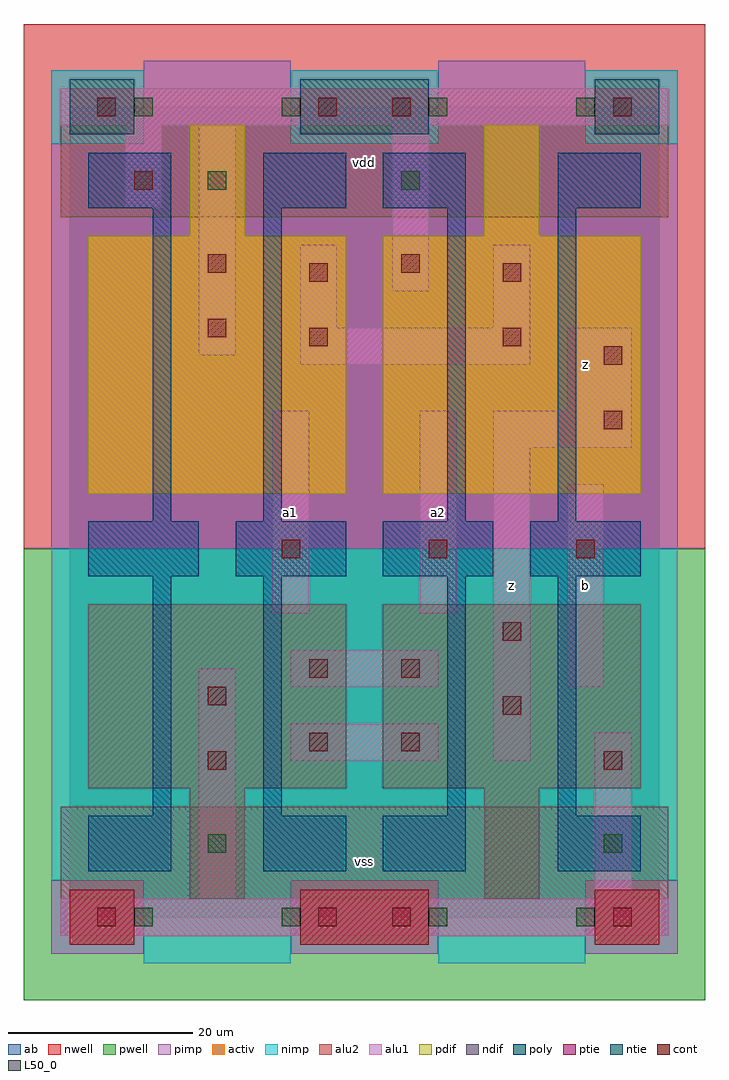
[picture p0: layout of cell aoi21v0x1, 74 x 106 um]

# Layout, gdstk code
import gdstk
lib = gdstk.Library(unit=1e-6, precision=1e-09)
def R(c, l, rs):  # rectangles x0, y0, x1, y1
    for r in rs: c.add(gdstk.rectangle(r[:2], r[2:], *l))
def A(c, l, x, y, w, h, nx, ny, dx, dy):  # array of equal rectangles
    R(c, l, [(x+i*dx, y+j*dy, x+i*dx+w, y+j*dy+h) for i in range(nx) for j in range(ny)])
ndif = (3, 0)
pdif = (4, 0)
ntie = (5, 0)
ptie = (6, 0)
cont = (25, 0)
pwell = (41, 0)
nwell = (42, 0)
activ = (43, 0)
pimp = (44, 0)
nimp = (45, 0)
poly = (46, 0)
alu1 = (49, 0)
L50_0 = (50, 0)
alu2 = (51, 0)
ab = (63, 0)

aoi21v0x1 = lib.new_cell('aoi21v0x1')
R(aoi21v0x1, ndif, [(13,2,19,14), (45,2,51,14), (2,14,30,34), (34,14,62,34)])
R(aoi21v0x1, pdif, [(2,46,30,74), (34,46,62,74), (13,74,19,86), (45,74,51,86)])
R(aoi21v0x1, ntie, [(0,85,7,91), (25,85,39,91), (57,85,64,91)])
R(aoi21v0x1, ptie, [(0,-3,7,3), (25,-3,39,3), (57,-3,64,3)])
A(aoi21v0x1, cont, 23, 39, 2, 2, 3, 1, 16, 0)
R(aoi21v0x1, cont, [(3,-1,5,1), (27,-1,29,1), (35,-1,37,1), (59,-1,61,1), (15,16,17,18), (58,16,60,18), (26,18,28,20), (36,18,38,20), (47,22,49,24), (15,23,17,25), (26,26,28,28), (36,26,38,28), (47,30,49,32), (58,53,60,55), (58,60,60,62), (26,62,28,64), (47,62,49,64), (15,63,17,65), (26,69,28,71), (47,69,49,71), (15,70,17,72), (36,70,38,72), (7,79,9,81), (3,87,5,89), (27,87,29,89), (35,87,37,89), (59,87,61,89)])
R(aoi21v0x1, pwell, [(-5,-9,69,40)])
R(aoi21v0x1, nwell, [(-5,40,69,97)])
R(aoi21v0x1, activ, [(0,-3,7,3), (25,-3,39,3), (57,-3,64,3), (13,2,19,14), (45,2,51,14), (2,14,30,34), (34,14,62,34), (2,46,30,74), (34,46,62,74), (13,74,19,86), (45,74,51,86), (0,85,7,91), (25,85,39,91), (57,85,64,91)])
R(aoi21v0x1, pimp, [(-2,-4,8,4), (24,-4,40,4), (56,-4,66,4), (-2,40,66,84), (8,84,24,93), (40,84,56,93)])
R(aoi21v0x1, nimp, [(8,-5,24,4), (40,-5,56,4), (-2,4,66,40), (-2,84,8,92), (24,84,40,92), (56,84,66,92)])
A(aoi21v0x1, poly, 2, 37, 12, 6, 4, 1, 16, 0)
R(aoi21v0x1, poly, [(2,5,11,11), (21,5,30,11), (34,5,43,11), (53,5,62,11), (9,11,11,37), (21,11,23,37), (41,11,43,37), (53,11,55,37), (9,43,11,77), (21,43,23,77), (41,43,43,77), (53,43,55,77), (2,77,11,83), (21,77,30,83), (34,77,43,83), (53,77,62,83)])
R(aoi21v0x1, alu1, [(-1,-2,65,2), (14,2,18,27), (57,2,61,20), (24,17,40,21), (46,17,50,51), (24,25,40,29), (54,25,58,47), (22,33,26,55), (38,33,42,55), (46,51,61,55), (54,55,61,64), (25,60,50,64), (14,61,18,86), (25,64,29,73), (46,64,50,73), (35,68,39,86), (6,77,10,86), (-1,86,65,90)])
A(aoi21v0x1, L50_0, 7, -1, 2, 2, 4, 2, 16, 88)
R(aoi21v0x1, L50_0, [(15,7,17,9), (58,7,60,9), (15,79,17,81), (36,79,38,81)])
R(aoi21v0x1, alu2, [(-1,-2,65,12), (-1,76,65,90)])
R(aoi21v0x1, ab, [(0,0,64,88)])
aoi21v0x1.add(gdstk.Label('a1', (24,44), layer=49, texttype=0))
aoi21v0x1.add(gdstk.Label('a2', (40,44), layer=49, texttype=0))
aoi21v0x1.add(gdstk.Label('z', (48,36), layer=49, texttype=0))
aoi21v0x1.add(gdstk.Label('b', (56,36), layer=49, texttype=0))
aoi21v0x1.add(gdstk.Label('z', (56,60), layer=49, texttype=0))
aoi21v0x1.add(gdstk.Label('vss', (32,6), layer=51, texttype=0))
aoi21v0x1.add(gdstk.Label('vdd', (32,82), layer=51, texttype=0))

lib.write_gds('aoi21v0x1.gds')
